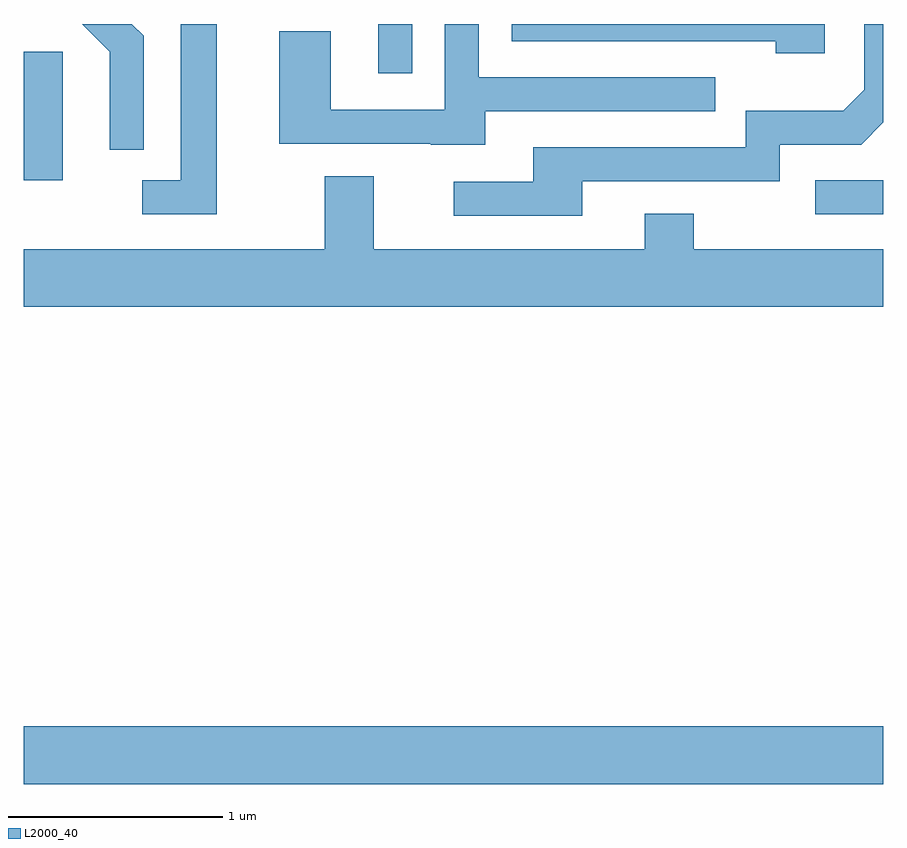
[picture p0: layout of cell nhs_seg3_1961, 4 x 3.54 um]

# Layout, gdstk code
import gdstk
lib = gdstk.Library(unit=1e-6, precision=1e-09)
def R(c, l, rs):  # rectangles x0, y0, x1, y1
    for r in rs: c.add(gdstk.rectangle(r[:2], r[2:], *l))
def P(c, l, *ps):  # polygons
    for p in ps: c.add(gdstk.Polygon(p, *l))
L2000_40 = (2000, 40)

nhs_seg3_1961 = lib.new_cell('nhs_seg3_1961')
R(nhs_seg3_1961, L2000_40, [(241.611,1230.356,245.611,1230.624), (245.293,1233.006,245.611,1233.164), (241.611,1233.166,241.794,1233.764), (243.261,1233.663,243.419,1233.892)])
P(nhs_seg3_1961, L2000_40, [(242.169,1233.837),(242.114,1233.892),(241.883,1233.892),(242.011,1233.764),(242.011,1233.308),(242.169,1233.308)],
  [(245.339,1233.892),(243.881,1233.892),(243.881,1233.811),(245.111,1233.811),(245.111,1233.756),(245.339,1233.756)],
  [(242.509,1233.892),(242.341,1233.892),(242.341,1233.164),(242.163,1233.164),(242.163,1233.006),(242.509,1233.006)],
  [(243.759,1233.486),(244.828,1233.486),(244.828,1233.644),(243.729,1233.644),(243.729,1233.892),(243.571,1233.892),(243.571,1233.494),(243.039,1233.494),(243.039,1233.859),(242.801,1233.859),(242.801,1233.336),(243.505,1233.336),(243.505,1233.331),(243.759,1233.331)],
  [(244.209,1233.161),(245.129,1233.161),(245.129,1233.331),(245.507,1233.331),(245.611,1233.436),(245.611,1233.892),(245.521,1233.892),(245.521,1233.587),(245.424,1233.489),(244.971,1233.489),(244.971,1233.319),(243.981,1233.319),(243.981,1233.159),(243.613,1233.159),(243.613,1233.001),(244.209,1233.001)],
  [(245.611,1232.844),(244.729,1232.844),(244.729,1233.009),(244.501,1233.009),(244.501,1232.844),(243.239,1232.844),(243.239,1233.184),(243.011,1233.184),(243.011,1232.844),(241.611,1232.844),(241.611,1232.576),(245.611,1232.576)])

lib.write_gds('nhs_seg3_1961.gds')
